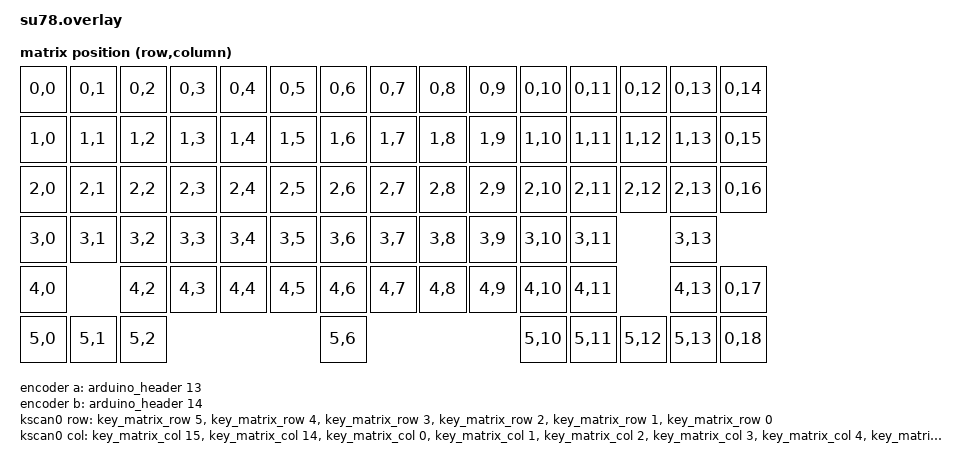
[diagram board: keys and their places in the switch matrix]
#include <behaviors.dtsi>
#include <dt-bindings/zmk/bt.h>
#include <dt-bindings/zmk/outputs.h>
#include <dt-bindings/zmk/matrix_transform.h>

/ {
	chosen {
		zmk,kscan = &kscan0;
		zmk,matrix-transform = &default_transform;
		zmk,battery = &vbatt;
	};

	sensors: sensors {
		compatible = "zmk,keymap-sensors";
		sensors = <&encoder>;
		triggers-per-rotation = <20>;
	};

	encoder: encoder {
		compatible = "alps,ec11";
		steps = <80>;
		a-gpios = <&arduino_header 13 (GPIO_ACTIVE_LOW | GPIO_PULL_UP)>;
		b-gpios = <&arduino_header 14 (GPIO_ACTIVE_LOW | GPIO_PULL_UP)>;
		status = "ok";
	};

	default_transform: keymap_transform_0 {
		compatible = "zmk,matrix-transform";
		rows = <7>;
		columns = <19>;

		map = <
			RC(0, 0) RC(0, 1) RC(0, 2) RC(0, 3) RC(0, 4) RC(0, 5) RC(0, 6) RC(0, 7) RC(0, 8) RC(0, 9) RC(0,10) RC(0,11) RC(0,12) RC(0,13) RC(0, 14)
			RC(1, 0) RC(1, 1) RC(1, 2) RC(1, 3) RC(1, 4) RC(1, 5) RC(1, 6) RC(1, 7) RC(1, 8) RC(1, 9) RC(1,10) RC(1,11) RC(1,12) RC(1,13) RC(0, 15)
			RC(2, 0) RC(2, 1) RC(2, 2) RC(2, 3) RC(2, 4) RC(2, 5) RC(2, 6) RC(2, 7) RC(2, 8) RC(2, 9) RC(2,10) RC(2,11) RC(2,12) RC(2,13) RC(0, 16)
			RC(3, 0) RC(3, 1) RC(3, 2) RC(3, 3) RC(3, 4) RC(3, 5) RC(3, 6) RC(3, 7) RC(3, 8) RC(3, 9) RC(3,10) RC(3,11)          RC(3,13)
			RC(4, 0)          RC(4, 2) RC(4, 3) RC(4, 4) RC(4, 5) RC(4, 6) RC(4, 7) RC(4, 8) RC(4, 9) RC(4,10) RC(4,11)          RC(4,13) RC(0, 17)
			RC(5, 0) RC(5, 1) RC(5, 2)                            RC(5, 6)                            RC(5,10) RC(5,11) RC(5,12) RC(5,13) RC(0, 18)
		>;
	};

	kscan0: kscan_0 {
		compatible = "zmk,kscan-gpio-matrix";
		diode-direction = "row2col";
		wakeup-source;

		col-gpios
			= <&key_matrix_col 15 GPIO_ACTIVE_HIGH> // 0
			, <&key_matrix_col 14 GPIO_ACTIVE_HIGH> // 1
			, <&key_matrix_col  0 GPIO_ACTIVE_HIGH> // 2
			, <&key_matrix_col  1 GPIO_ACTIVE_HIGH> // 3
			, <&key_matrix_col  2 GPIO_ACTIVE_HIGH> // 4
			, <&key_matrix_col  3 GPIO_ACTIVE_HIGH> // 5
			, <&key_matrix_col  4 GPIO_ACTIVE_HIGH> // 6
			, <&key_matrix_col  5 GPIO_ACTIVE_HIGH> // 7
			, <&key_matrix_col 13 GPIO_ACTIVE_HIGH> // 8
			, <&key_matrix_col 12 GPIO_ACTIVE_HIGH> // 9
			, <&key_matrix_col 11 GPIO_ACTIVE_HIGH> // 10
			, <&key_matrix_col 10 GPIO_ACTIVE_HIGH> // 11
			, <&key_matrix_col  9 GPIO_ACTIVE_HIGH> // 11
			, <&key_matrix_col  8 GPIO_ACTIVE_HIGH> // 13

			, <&arduino_header 15 (GPIO_ACTIVE_HIGH | GPIO_PULL_DOWN)> // 14 = P0.20 (EC11)
			, <&arduino_header 10 (GPIO_ACTIVE_HIGH | GPIO_PULL_DOWN)> // 15 = P0.15
			, <&arduino_header  9 (GPIO_ACTIVE_HIGH | GPIO_PULL_DOWN)> // 16 = P0.14
			, <&arduino_header 17 (GPIO_ACTIVE_HIGH | GPIO_PULL_DOWN)> // 17 = P0.23
			, <&arduino_header 18 (GPIO_ACTIVE_HIGH | GPIO_PULL_DOWN)> // 18 = P0.24
			;

		row-gpios
			= <&key_matrix_row 5 GPIO_ACTIVE_HIGH> // 0
			, <&key_matrix_row 4 GPIO_ACTIVE_HIGH> // 1
			, <&key_matrix_row 3 GPIO_ACTIVE_HIGH> // 2
			, <&key_matrix_row 2 GPIO_ACTIVE_HIGH> // 3
			, <&key_matrix_row 1 GPIO_ACTIVE_HIGH> // 4
			, <&key_matrix_row 0 GPIO_ACTIVE_HIGH> // 5
			;
	};

	vbatt: vbatt {
		compatible = "zmk,battery-voltage-divider";
		io-channels = <&adc 0>;
		output-ohms = <100>;
		full-ohms = <(100 + 160)>;
	};
};

&adc {
	#address-cells = <1>;
	#size-cells = <0>;
	status = "okay";
	channel@0 {
		reg = <0>;
		zephyr,gain = "ADC_GAIN_1_6";
		zephyr,reference = "ADC_REF_INTERNAL";
		zephyr,acquisition-time = <ADC_ACQ_TIME_DEFAULT>;
		zephyr,input-positive = <NRF_SAADC_AIN0>; /* P0.02 */
		zephyr,resolution = <12>;
	};
};

&arduino_i2c {
	#address-cells = <1>;
	#size-cells = <0>;

	status = "ok";
	clock-frequency = <400000>;

	key_matrix_col: pca95xx@0x20 {
		compatible = "nxp,pca95xx";
		gpio-controller;
		#gpio-cells = <2>;

		wakeup-source;

		reg = <0x20>;
		ngpios = <16>;
		interrupt-gpios = <&arduino_header 21 (GPIO_ACTIVE_LOW | GPIO_PULL_UP)>; // P0.27
	};

	key_matrix_row: pca95xx@0x21{
		compatible = "nxp,pca95xx";
		gpio-controller;
		#gpio-cells = <2>;

		reg = <0x21>;
		ngpios = <16>;
		interrupt-gpios = <&arduino_header 21 (GPIO_ACTIVE_LOW | GPIO_PULL_UP)>; // P0.27
	};
};

&pinctrl {
	uart0_default: uart0_default {
		group1 {
			psels = <NRF_PSEL(UART_TX, 0, 3)>,
					<NRF_PSEL(UART_RX, 0, 4)>,
					<NRF_PSEL(UART_RTS, 0, 5)>,
					<NRF_PSEL(UART_CTS, 0, 6)>;
		};
	};

	uart0_sleep: uart0_sleep {
		group1 {
			psels = <NRF_PSEL(UART_TX, 0, 3)>,
					<NRF_PSEL(UART_RX, 0, 4)>,
					<NRF_PSEL(UART_RTS, 0, 5)>,
					<NRF_PSEL(UART_CTS, 0, 6)>;
			low-power-enable;
		};
	};

	i2c0_default: i2c0_default {
		group1 {
			psels = <NRF_PSEL(TWIM_SDA, 0, 26)>,
					<NRF_PSEL(TWIM_SCL, 0, 25)>;
			bias-pull-up;
		};
	};

	i2c0_sleep: i2c0_sleep {
		group1 {
			psels = <NRF_PSEL(TWIM_SDA, 0, 26)>,
					<NRF_PSEL(TWIM_SCL, 0, 25)>;
			bias-pull-up;
			low-power-enable;
		};
	};
};

&uart0 {
	status = "disabled";
	// status = "ok";
};
